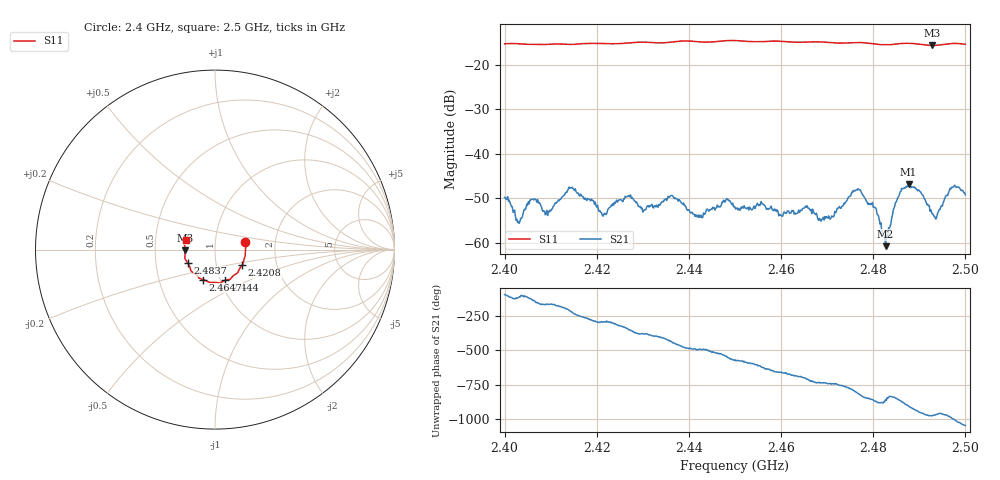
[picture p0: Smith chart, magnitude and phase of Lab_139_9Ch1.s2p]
# Hz S RI R 50
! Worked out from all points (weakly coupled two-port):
!   601 points, 2.4 GHz to 2.5 GHz, reference 50 ohm
!   highest |S21| = -46.81 dB at 2.4877 GHz (marker M1); lowest = -60.8 dB at 2.4827 GHz (marker M2)
!   lowest |S11| = -15.6 dB at 2.4928 GHz (marker M3), VSWR 1.40, Z = 35.8 - j0.339 ohm
!   |S11| at or under -10 dB: start of sweep to end of sweep
!   S12 and S22 are empty: the file has one direction only
!   S11 on the Smith chart (normalised r, x): 2.4 GHz: 1.40, +0.12; 2.4208 GHz: 1.33, -0.24; 2.444 GHz: 1.06, -0.37; 2.4647 GHz: 0.83, -0.29; 2.4837 GHz: 0.73, -0.11; 2.5 GHz: 0.72, +0.08
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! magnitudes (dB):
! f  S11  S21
! 2.4 GHz  -15.3  -49.8
! 2.403 GHz  -15.3  -55.3
! 2.406 GHz  -15.4  -50.2
! 2.4092 GHz  -15.4  -52.7
! 2.4142 GHz  -15.4  -47.7
! 2.4167 GHz  -15.2  -49.4
! 2.4208 GHz  -15.2  -53.1
! 2.4268 GHz  -15.1  -49.5
! 2.4333 GHz  -15.0  -52.0
! 2.444 GHz  -14.9  -52.4
! 2.45 GHz  -14.5  -52.0
! 2.4647 GHz  -14.9  -52.3
! 2.4667 GHz  -14.8  -53.5
! 2.471 GHz  -15.0  -54.0
! 2.4768 GHz  -15.0  -48.0
! 2.4827 GHz  -15.5  -60.8
! 2.4833 GHz  -15.5  -56.7
! 2.4837 GHz  -15.4  -56.2
! 2.4877 GHz  -15.1  -46.8
! 2.4928 GHz  -15.6  -53.5
! 2.4972 GHz  -15.2  -47.6
! 2.5 GHz  -15.4  -49.2
